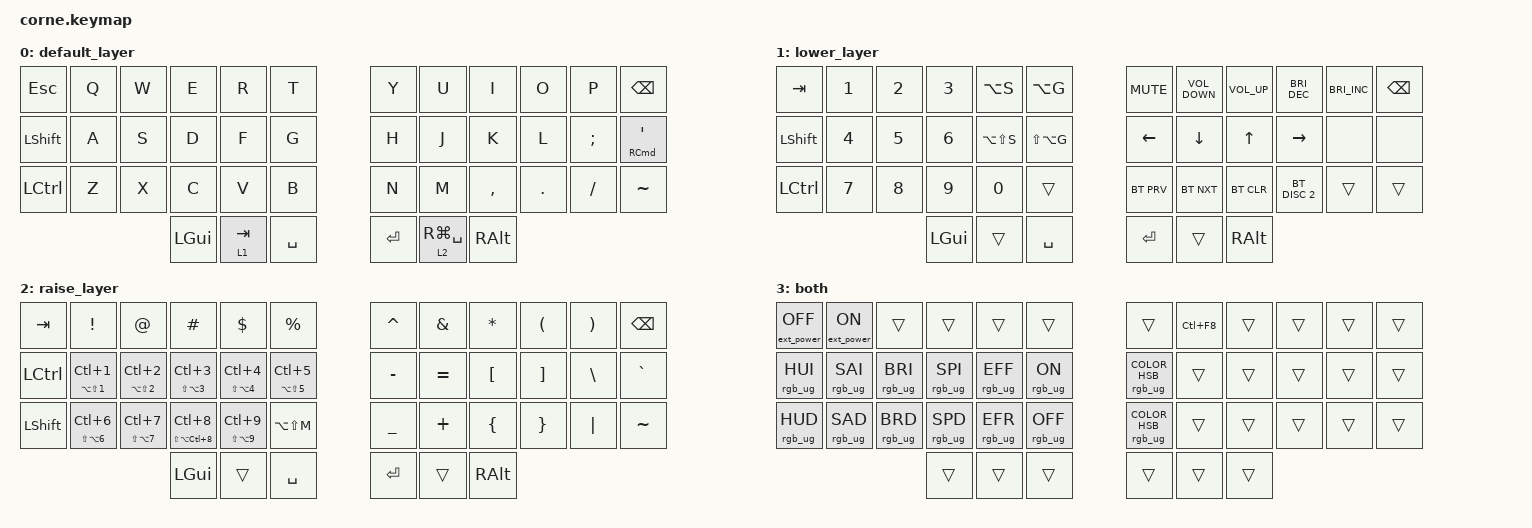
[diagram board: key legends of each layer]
/*
 * Copyright (c) 2020 The ZMK Contributors
 *
 * SPDX-License-Identifier: MIT
 */

#include <behaviors.dtsi>
#include <dt-bindings/zmk/bt.h>
#include <dt-bindings/zmk/ext_power.h>
#include <dt-bindings/zmk/keys.h>
#include <dt-bindings/zmk/rgb.h>

//&led_strip { chain-length = <27>; };
&led_strip {
    chain-length = <54>;
};

/ {
    behaviors {
        hmr: hmr {
            compatible = "zmk,behavior-hold-tap";
            label = "HMR";
            bindings = <&kp>, <&kp>;

            #binding-cells = <2>;
            tapping-term-ms = <200>;
            quick-tap-ms = <175>;
            flavor = "tap-preferred";
            hold-trigger-key-positions = <6 7 8 9 10 11 18 19 20 21 22 23 30 31 32 33 34 35 36 37 38 39 40 41>;
            hold-trigger-on-release;
        };

        hml: hml {
            compatible = "zmk,behavior-hold-tap";
            label = "HML";
            bindings = <&kp>, <&kp>;

            #binding-cells = <2>;
            tapping-term-ms = <200>;
            quick-tap-ms = <175>;
            flavor = "tap-preferred";
            hold-trigger-on-release;
            hold-trigger-key-positions = <0 1 2 3 4 5 12 13 14 15 16 17 24 25 26 27 28 29 36 37 38 39 40 41>;
        };
    };

    combos { compatible = "zmk,combos"; };

    macros {
        change_space: change_space {
            compatible = "zmk,behavior-macro";
            #binding-cells = <0>;
            bindings = <&kp LCTRL &kp NUMBER_1>, <&macro_tap>;

            label = "CHANGE_SPACE";
        };
    };

    keymap {
        compatible = "zmk,keymap";

        default_layer {
            // -----------------------------------------------------------------------------------------
            // |  TAB |  Q  |  W  |  E  |  R  |  T  |   |  Y  |  U   |  I  |  O  |  P  | BSPC |
            // | CTRL |  A  |  S  |  D  |  F  |  G  |   |  H  |  J   |  K  |  L  |  ;  |  '   |
            // | SHFT |  Z  |  X  |  C  |  V  |  B  |   |  N  |  M   |  ,  |  .  |  /  | ESC  |
            //                    | GUI | LWR | SPC |   | ENT | RSE  | ALT |

            bindings = <
&kp ESCAPE        &kp Q  &kp W  &kp E     &kp R      &kp T        &kp Y    &kp U            &kp I      &kp O    &kp P          &kp BSPC
&kp LEFT_SHIFT    &kp A  &kp S  &kp D     &kp F      &kp G        &kp H    &kp J            &kp K      &kp L    &kp SEMICOLON  &hmr RCMD SQT
&kp LEFT_CONTROL  &kp Z  &kp X  &kp C     &kp V      &kp B        &kp N    &kp M            &kp COMMA  &kp DOT  &kp FSLH       &kp TILDE
                                &kp LGUI  &lt 1 TAB  &kp SPACE    &kp RET  &lt 2 RG(SPACE)  &kp RALT
            >;
        };

        lower_layer {
            // -----------------------------------------------------------------------------------------
            // |  TAB |  1  |  2  |  3  |  4  |  5  |   |  6  |  7  |  8  |  9  |  0  | BSPC |
            // | BTCLR| BT1 | BT2 | BT3 | BT4 | BT5 |   | LFT | DWN |  UP | RGT |     |      |
            // | SHFT |     |     |     |     |     |   |     |     |     |     |     |      |
            //                    | GUI |     | SPC |   | ENT |     | ALT |

            bindings = <
&kp TAB           &kp N1  &kp N2  &kp N3    &kp LA(S)      &kp LA(G)        &kp K_MUTE  &kp C_VOLUME_DOWN  &kp C_VOLUME_UP  &kp C_BRIGHTNESS_DEC  &kp C_BRIGHTNESS_INC  &kp BSPC
&kp LEFT_SHIFT    &kp N4  &kp N5  &kp N6    &kp LA(LS(S))  &kp LS(LA(G))    &kp LEFT    &kp DOWN           &kp UP           &kp RIGHT             &none                 &none
&kp LEFT_CONTROL  &kp N7  &kp N8  &kp N9    &kp N0         &trans           &bt BT_PRV  &bt BT_NXT         &bt BT_CLR       &bt BT_DISC 2         &trans                &trans
                                  &kp LGUI  &trans         &kp SPACE        &kp RET     &trans             &kp RALT
            >;
        };

        raise_layer {
            // -----------------------------------------------------------------------------------------
            // |  TAB |  !  |  @  |  #  |  $  |  %  |   |  ^  |  &  |  *  |  (  |  )  | BSPC |
            // | CTRL |     |     |     |     |     |   |  -  |  =  |  [  |  ]  |  \  |  `   |
            // | SHFT |     |     |     |     |     |   |  _  |  +  |  {  |  }  | "|" |  ~   |
            //                    | GUI |     | SPC |   | ENT |     | ALT |

            bindings = <
&kp TAB    &kp EXCL                           &kp AT                             &kp HASH                           &kp DLLR                           &kp PRCNT                &kp CARET  &kp AMPS   &kp ASTRK  &kp LPAR  &kp RPAR  &kp BSPC
&kp LCTRL  &mt LA(LS(NUMBER_1)) LC(NUMBER_1)  &mt LA(LS(NUMBER_2)) LC(NUMBER_2)  &mt LS(LA(NUMBER_3)) LC(NUMBER_3)  &mt LS(LA(NUMBER_4)) LC(NUMBER_4)  &mt LA(LS(N5)) LC(N5)    &kp MINUS  &kp EQUAL  &kp LBKT   &kp RBKT  &kp BSLH  &kp GRAVE
&kp LSHFT  &mt LS(LA(NUMBER_6)) LC(NUMBER_6)  &mt LS(LA(N7)) LC(N7)              &mt LS(LA(LC(N8))) LC(N8)          &mt LS(LA(N9)) LC(N9)              &kp LA(LS(M))            &kp UNDER  &kp PLUS   &kp LBRC   &kp RBRC  &kp PIPE  &kp TILDE
                                                                                 &kp LGUI                           &trans                             &kp SPACE                &kp RET    &trans     &kp RALT
            >;
        };

        both {
            bindings = <
&ext_power EP_OFF  &ext_power EP_ON  &trans           &trans           &trans           &trans             &trans                            &kp LC(F8)  &trans  &trans  &trans  &trans
&rgb_ug RGB_HUI    &rgb_ug RGB_SAI   &rgb_ug RGB_BRI  &rgb_ug RGB_SPI  &rgb_ug RGB_EFF  &rgb_ug RGB_ON     &rgb_ug RGB_COLOR_HSB(31,100,50)  &trans      &trans  &trans  &trans  &trans
&rgb_ug RGB_HUD    &rgb_ug RGB_SAD   &rgb_ug RGB_BRD  &rgb_ug RGB_SPD  &rgb_ug RGB_EFR  &rgb_ug RGB_OFF    &rgb_ug RGB_COLOR_HSB(0,0,100)    &trans      &trans  &trans  &trans  &trans
                                                      &trans           &trans           &trans             &trans                            &trans      &trans
            >;
        };
    };

    conditional_layers {
        compatible = "zmk,conditional-layers";

        third {
            if-layers = <2 1>;
            then-layer = <3>;
        };
    };
};
